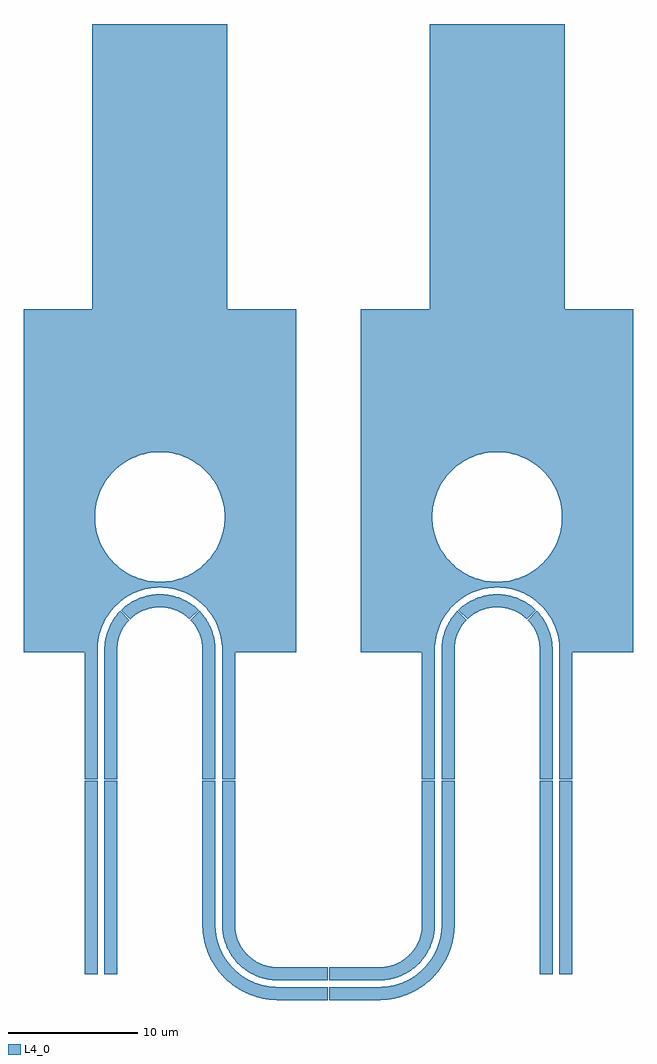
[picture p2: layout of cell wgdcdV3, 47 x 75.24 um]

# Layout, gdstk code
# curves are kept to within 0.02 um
import gdstk
lib = gdstk.Library(unit=1e-6, precision=1e-09)
def R(c, l, rs):  # rectangles x0, y0, x1, y1
    for r in rs: c.add(gdstk.rectangle(r[:2], r[2:], *l))
def P(c, l, *ps):  # polygons
    for p in ps: c.add(gdstk.Polygon(p, *l))
L4_0 = (4, 0)

wgdcdv3 = lib.new_cell('wgdcdV3')
R(wgdcdv3, L4_0, [(0.05,-37.24,3.92,-36.24), (-18.8,-35.24,-17.8,-20.34), (-17.28,-35.24,-16.28,-20.34), (16.28,-35.24,17.28,-20.34), (17.8,-35.24,18.8,-20.34)])
P(wgdcdv3, L4_0, [(-3.92,-37.24),(-4.771,-37.177),(-5.672,-36.969),(-6.528,-36.621),(-7.318,-36.141),(-7.971,-35.591),(-8.579,-34.895),(-9.035,-34.174),(-9.405,-33.327),(-9.635,-32.432),(-9.72,-31.511),(-9.72,-20.34),(-8.72,-20.34),(-8.711,-31.734),(-8.639,-32.319),(-8.496,-32.89),(-8.284,-33.439),(-8.007,-33.958),(-7.668,-34.439),(-7.272,-34.876),(-6.826,-35.26),(-6.286,-35.616),(-5.757,-35.875),(-5.2,-36.066),(-4.508,-36.204),(-3.92,-36.24),(-3.92,-37.24),(-3.92,-36.24),(-0.05,-36.24),(-0.05,-37.24)],
  [(-3.92,-35.72),(-4.6,-35.666),(-5.263,-35.504),(-5.938,-35.215),(-6.47,-34.878),(-7.02,-34.391),(-7.479,-33.818),(-7.833,-33.174),(-8.045,-32.582),(-8.154,-32.068),(-8.2,-31.493),(-8.2,-20.34),(-7.2,-20.34),(-7.198,-31.561),(-7.092,-32.276),(-6.965,-32.658),(-6.794,-33.022),(-6.43,-33.552),(-5.938,-34.026),(-5.359,-34.388),(-4.717,-34.622),(-4.361,-34.69),(-3.96,-34.72),(-0.05,-34.72),(-0.05,-35.72)],
  [(0.05,-35.72),(0.05,-34.72),(3.96,-34.72),(4.361,-34.69),(4.717,-34.622),(5.359,-34.388),(5.938,-34.026),(6.43,-33.552),(6.794,-33.022),(6.965,-32.658),(7.092,-32.276),(7.198,-31.561),(7.2,-20.34),(8.2,-20.34),(8.195,-31.65),(8.146,-32.12),(8.045,-32.582),(7.894,-33.029),(7.695,-33.458),(7.479,-33.818),(7.195,-34.196),(6.909,-34.503),(6.594,-34.782),(5.938,-35.215),(5.509,-35.414),(5.112,-35.551),(4.6,-35.666),(4.025,-35.719)],
  [(3.92,-37.24),(3.92,-36.24),(4.683,-36.179),(5.426,-35.998),(6.131,-35.701),(6.732,-35.33),(7.272,-34.876),(7.81,-34.252),(8.181,-33.651),(8.478,-32.946),(8.639,-32.319),(8.719,-31.558),(8.72,-20.34),(9.72,-20.34),(9.72,-31.511),(9.635,-32.432),(9.405,-33.327),(9.035,-34.174),(8.579,-34.895),(7.971,-35.591),(7.318,-36.141),(6.528,-36.621),(5.672,-36.969),(4.771,-37.177)],
  [(-17.28,-20.24),(-17.28,-10.24),(-17.259,-9.82),(-17.125,-9.098),(-16.869,-8.41),(-16.559,-7.862),(-16.061,-7.249),(-15.354,-7.956),(-15.682,-8.351),(-15.999,-8.911),(-16.182,-9.443),(-16.271,-9.999),(-16.28,-20.24)],
  [(16.28,-20.24),(16.271,-9.999),(16.182,-9.443),(15.999,-8.911),(15.682,-8.351),(15.354,-7.956),(16.061,-7.249),(16.559,-7.862),(16.775,-8.222),(16.954,-8.602),(17.096,-8.998),(17.198,-9.405),(17.279,-10.135),(17.28,-20.24)],
  [(-9.72,-20.24),(-9.729,-9.999),(-9.818,-9.443),(-10.001,-8.911),(-10.318,-8.351),(-10.646,-7.956),(-9.939,-7.249),(-9.441,-7.862),(-9.225,-8.222),(-9.046,-8.602),(-8.904,-8.998),(-8.802,-9.405),(-8.721,-10.135),(-8.72,-20.24)],
  [(8.72,-20.24),(8.72,-10.24),(8.741,-9.82),(8.875,-9.098),(9.131,-8.41),(9.441,-7.862),(9.939,-7.249),(10.646,-7.956),(10.318,-8.351),(10.001,-8.911),(9.818,-9.443),(9.729,-9.999),(9.72,-20.24)],
  [(-15.284,-7.886),(-15.991,-7.179),(-15.378,-6.681),(-14.83,-6.371),(-14.242,-6.144),(-13.524,-5.992),(-13.105,-5.961),(-12.58,-5.981),(-12.165,-6.042),(-11.657,-6.176),(-11.17,-6.371),(-10.8,-6.569),(-10.367,-6.866),(-10.009,-7.179),(-10.716,-7.886),(-10.982,-7.654),(-11.314,-7.427),(-11.671,-7.241),(-11.971,-7.126),(-12.36,-7.023),(-12.679,-6.976),(-13.402,-6.985),(-13.952,-7.101),(-14.402,-7.275),(-14.889,-7.558)],
  [(10.716,-7.886),(10.009,-7.179),(10.622,-6.681),(11.17,-6.371),(11.758,-6.144),(12.476,-5.992),(12.895,-5.961),(13.42,-5.981),(13.835,-6.042),(14.343,-6.176),(14.83,-6.371),(15.2,-6.569),(15.633,-6.866),(15.991,-7.179),(15.284,-7.886),(15.018,-7.654),(14.686,-7.427),(14.329,-7.241),(14.029,-7.126),(13.64,-7.023),(13.321,-6.976),(12.598,-6.985),(12.048,-7.101),(11.598,-7.275),(11.111,-7.558)],
  [(-18.8,-20.24),(-18.8,-10.44),(-23.5,-10.44),(-23.5,-5),(-13,-5),(-12.266,-4.946),(-11.785,-4.85),(-11.316,-4.708),(-10.862,-4.52),(-10.429,-4.289),(-9.828,-3.865),(-9.295,-3.358),(-8.984,-2.978),(-8.711,-2.571),(-8.48,-2.138),(-8.292,-1.684),(-8.096,-0.975),(-8.006,-0.245),(-8.006,0.245),(-8.054,0.734),(-8.15,1.215),(-8.292,1.684),(-8.59,2.357),(-8.843,2.778),(-9.135,3.172),(-9.464,3.536),(-9.828,3.865),(-10.429,4.289),(-10.862,4.52),(-11.549,4.785),(-12.025,4.904),(-12.51,4.976),(-13.245,4.994),(-13.734,4.946),(-14.215,4.85),(-14.684,4.708),(-15.138,4.52),(-15.571,4.289),(-16.172,3.865),(-16.705,3.358),(-17.016,2.978),(-17.289,2.571),(-17.52,2.138),(-17.708,1.684),(-17.904,0.975),(-17.994,0.245),(-17.994,-0.245),(-17.946,-0.734),(-17.785,-1.451),(-17.619,-1.913),(-17.41,-2.357),(-17.157,-2.778),(-16.865,-3.172),(-16.358,-3.705),(-15.978,-4.016),(-15.571,-4.289),(-15.138,-4.52),(-14.684,-4.708),(-14.215,-4.85),(-13.734,-4.946),(-13,-5),(-23.5,-5),(-23.5,16),(-18.2,16),(-18.2,38),(-7.8,38),(-7.8,16),(-2.5,16),(-2.5,-10.44),(-7.2,-10.44),(-7.2,-20.24),(-8.2,-20.24),(-8.206,-10.004),(-8.252,-9.536),(-8.344,-9.074),(-8.565,-8.403),(-8.767,-7.977),(-9.009,-7.573),(-9.29,-7.195),(-9.606,-6.846),(-9.955,-6.53),(-10.333,-6.249),(-10.737,-6.007),(-11.163,-5.805),(-11.834,-5.584),(-12.296,-5.492),(-12.764,-5.446),(-13.236,-5.446),(-13.704,-5.492),(-14.166,-5.584),(-14.617,-5.721),(-15.052,-5.901),(-15.468,-6.123),(-15.859,-6.385),(-16.223,-6.683),(-16.557,-7.017),(-16.855,-7.381),(-17.117,-7.772),(-17.339,-8.188),(-17.519,-8.623),(-17.656,-9.074),(-17.777,-9.77),(-17.8,-10.24),(-17.8,-20.24)],
  [(7.2,-20.24),(7.2,-10.44),(2.5,-10.44),(2.5,-5),(13,-5),(13.734,-4.946),(14.215,-4.85),(14.684,-4.708),(15.138,-4.52),(15.571,-4.289),(16.172,-3.865),(16.705,-3.358),(17.016,-2.978),(17.289,-2.571),(17.52,-2.138),(17.708,-1.684),(17.904,-0.975),(17.994,-0.245),(17.994,0.245),(17.946,0.734),(17.85,1.215),(17.708,1.684),(17.41,2.357),(17.157,2.778),(16.865,3.172),(16.536,3.536),(16.172,3.865),(15.571,4.289),(15.138,4.52),(14.451,4.785),(13.975,4.904),(13.49,4.976),(12.755,4.994),(12.266,4.946),(11.785,4.85),(11.316,4.708),(10.862,4.52),(10.429,4.289),(9.828,3.865),(9.295,3.358),(8.984,2.978),(8.711,2.571),(8.48,2.138),(8.292,1.684),(8.096,0.975),(8.006,0.245),(8.006,-0.245),(8.054,-0.734),(8.215,-1.451),(8.381,-1.913),(8.59,-2.357),(8.843,-2.778),(9.135,-3.172),(9.642,-3.705),(10.022,-4.016),(10.429,-4.289),(10.862,-4.52),(11.316,-4.708),(11.785,-4.85),(12.266,-4.946),(13,-5),(2.5,-5),(2.5,16),(7.8,16),(7.8,38),(18.2,38),(18.2,16),(23.5,16),(23.5,-10.44),(18.8,-10.44),(18.8,-20.24),(17.8,-20.24),(17.794,-10.004),(17.748,-9.536),(17.656,-9.074),(17.435,-8.403),(17.233,-7.977),(16.991,-7.573),(16.71,-7.195),(16.394,-6.846),(16.045,-6.53),(15.667,-6.249),(15.263,-6.007),(14.837,-5.805),(14.166,-5.584),(13.704,-5.492),(13.236,-5.446),(12.764,-5.446),(12.296,-5.492),(11.834,-5.584),(11.383,-5.721),(10.948,-5.901),(10.532,-6.123),(10.141,-6.385),(9.777,-6.683),(9.443,-7.017),(9.145,-7.381),(8.883,-7.772),(8.661,-8.188),(8.481,-8.623),(8.344,-9.074),(8.223,-9.77),(8.2,-10.24),(8.2,-20.24)])

lib.write_gds('wgdcdV3.gds')
